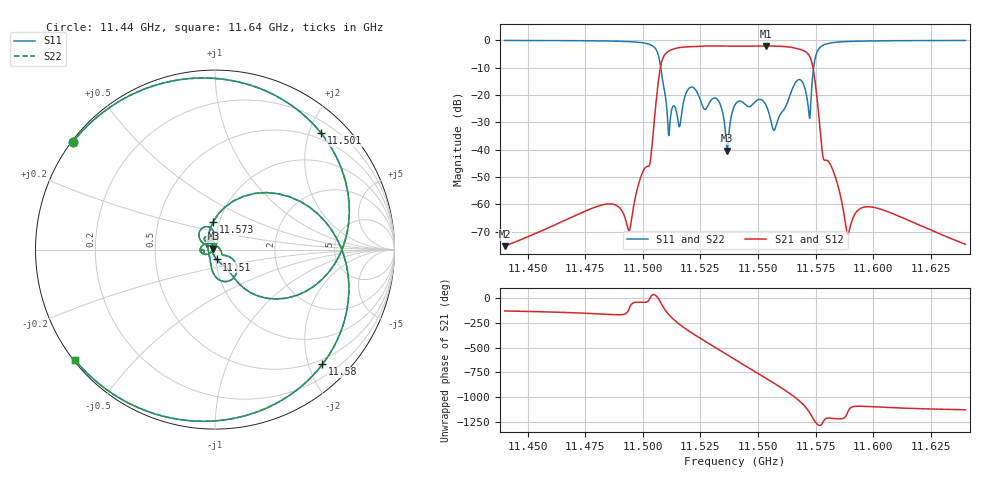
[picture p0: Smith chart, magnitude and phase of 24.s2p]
! This file was generated by CST Filter Designer 3D
! Date:  06.11.2025 15:51:11
# MHZ S RI R 50
!  Frequency  Re(S11)  Im(S11)  Re(S21)  Im(S21)  Re(S12)  Im(S12)  Re(S22)  Im(S22)
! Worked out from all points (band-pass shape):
!   1001 points, 11.44 GHz to 11.64 GHz, reference 50 ohm
!   highest |S21| = -2.08 dB at 11.554 GHz (marker M1); lowest = -75.3 dB at 11.44 GHz (marker M2)
!   |S21| within 3 dB of the highest: 11.51 GHz to 11.572 GHz (62.09 MHz wide, 0.538 % of centre)
!   lowest |S11| = -40.3 dB at 11.537 GHz (marker M3), VSWR 1.02, Z = 49.2 + j0.441 ohm
!   |S11| at or under -10 dB: 11.508 GHz to 11.574 GHz (66.35 MHz wide, 0.575 % of centre)
!   |S22| runs from -40.3 to -0.1 dB; largest |S21 - S12| = 0
!   S11 on the Smith chart (normalised r, x): 11.44 GHz: 0.00, +0.33; 11.501 GHz: 0.39, +2.20; 11.51 GHz: 1.01, -0.11; 11.573 GHz: 0.93, +0.30; 11.58 GHz: 0.41, -2.24; 11.64 GHz: 0.00, -0.35
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11440  -0.7938 0.5974  -0.000108 -0.000134  -0.000108 -0.000134  -0.7938 0.5974
11473.4  -0.5164 0.8361  -0.000612 -0.000351  -0.000612 -0.000351  -0.5164 0.8361
11494  0.0943 0.9416  -0.000107 -0.000311  -0.000107 -0.000311  0.0943 0.9416
11501.4  0.5909 0.6493  0.00372 -0.00311  0.00372 -0.00311  0.5909 0.6493
11506.8  0.4546 -0.2555  0.184 -0.0152  0.184 -0.0152  0.4546 -0.2555
11510.4  0.00997 -0.0548  -0.4667 -0.3748  -0.4667 -0.3748  0.00997 -0.0548
11516  -0.0127 0.0234  -0.051 0.7348  -0.051 0.7348  -0.0127 0.0234
11522  -0.0456 0.1278  0.769 -0.0372  0.769 -0.0372  -0.0456 0.1278
11528.6  -0.0508 0.0465  -0.1099 -0.7787  -0.1099 -0.7787  -0.0508 0.0465
11536.6  -0.00851 0.00449  -0.6699 0.4106  -0.6699 0.4106  -0.00851 0.00449
11540  -0.0611 -0.0252  -0.1317 0.7726  -0.1317 0.7726  -0.0611 -0.0252
11546.8  -0.0613 -0.0132  0.7857 0.0343  0.7857 0.0343  -0.0613 -0.0132
11553.6  -0.0549 0.0314  -0.0433 -0.7855  -0.0433 -0.7855  -0.0549 0.0314
11559.4  0.0371 -0.0199  -0.7764 -0.0482  -0.7764 -0.0482  0.0371 -0.0199
11564.6  0.1046 -0.0599  -0.1447 0.7273  -0.1447 0.7273  0.1046 -0.0599
11569.4  0.0211 -0.1675  0.65 0.0898  0.65 0.0898  0.0211 -0.1675
11573.4  -0.00999 0.1552  -0.1794 -0.3418  -0.1794 -0.3418  -0.00999 0.1552
11576.6  0.7172 -0.0302  -0.0299 0.0159  -0.0299 0.0159  0.7172 -0.0302
11580.4  0.5984 -0.6394  -0.00431 -0.00444  -0.00431 -0.00444  0.5984 -0.6394
11589  0.0444 -0.9499  9.39e-05 -0.000272  9.39e-05 -0.000272  0.0444 -0.9499
11606.8  -0.4807 -0.8555  0.000644 -0.00033  0.000644 -0.00033  -0.4807 -0.8555
11640  -0.7805 -0.6138  0.000121 -0.000143  0.000121 -0.000143  -0.7805 -0.6138
